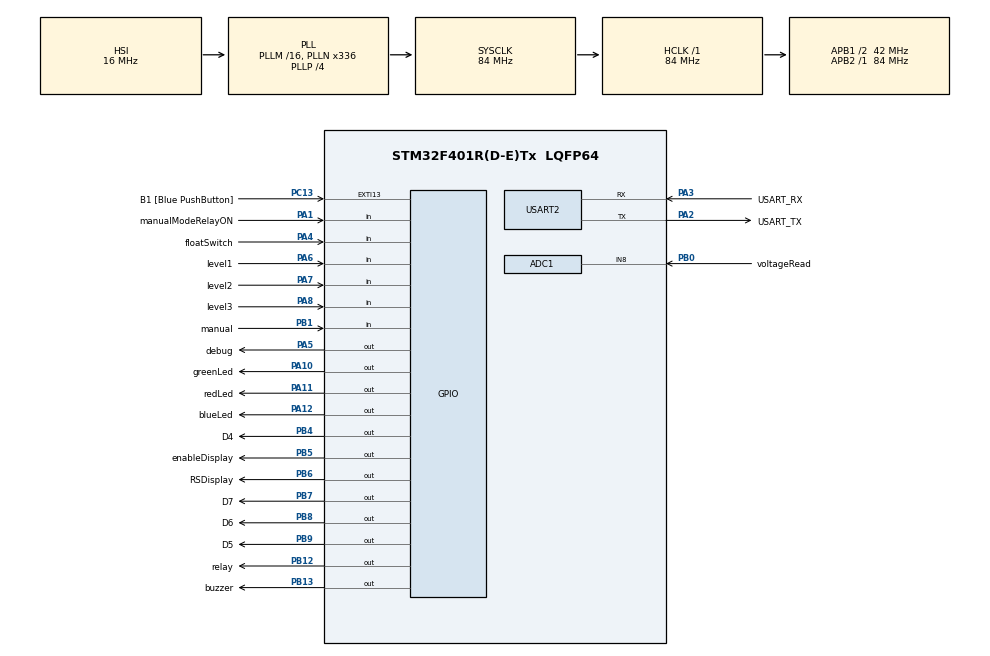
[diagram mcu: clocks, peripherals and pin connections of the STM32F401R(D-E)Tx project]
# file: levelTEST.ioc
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ADC1.Channel-0\#ChannelRegularConversion=ADC_CHANNEL_8
ADC1.ContinuousConvMode=ENABLE
ADC1.EOCSelection=ADC_EOC_SEQ_CONV
ADC1.NbrOfConversionFlag=1
ADC1.Rank-0\#ChannelRegularConversion=1
ADC1.SamplingTime-0\#ChannelRegularConversion=ADC_SAMPLETIME_3CYCLES
ADC1.master=1
Mcu.Family=STM32F4
Mcu.Name=STM32F401R(D-E)Tx
Mcu.Package=LQFP64
NVIC.PriorityGroup=NVIC_PRIORITYGROUP_0
NVIC.TIM2_IRQn=true\:0\:0\:false\:false\:true\:true\:true\:true
PA1.GPIO_Label=manualModeRelayON
PA1.GPIO_PuPd=GPIO_PULLDOWN
PA1.Signal=GPIO_Input
PA10.GPIO_Label=greenLed
PA10.Signal=GPIO_Output
PA11.GPIO_Label=redLed
PA11.Signal=GPIO_Output
PA12.GPIO_Label=blueLed
PA12.Signal=GPIO_Output
PA13.GPIO_Label=TMS
PA13.Mode=Serial_Wire
PA13.Signal=SYS_JTMS-SWDIO
PA14.GPIO_Label=TCK
PA14.Mode=Serial_Wire
PA14.Signal=SYS_JTCK-SWCLK
PA2.GPIO_Label=USART_TX
PA2.GPIO_Mode=GPIO_MODE_AF_PP
PA2.GPIO_PuPd=GPIO_NOPULL
PA2.GPIO_Speed=GPIO_SPEED_FREQ_LOW
PA2.Mode=Asynchronous
PA2.Signal=USART2_TX
PA3.GPIO_Label=USART_RX
PA3.GPIO_Mode=GPIO_MODE_AF_PP
PA3.GPIO_PuPd=GPIO_NOPULL
PA3.GPIO_Speed=GPIO_SPEED_FREQ_LOW
PA3.Mode=Asynchronous
PA3.Signal=USART2_RX
PA4.GPIO_Label=floatSwitch
PA4.GPIO_PuPd=GPIO_PULLUP
PA4.Signal=GPIO_Input
PA5.GPIO_Label=debug
PA5.GPIO_Mode=GPIO_MODE_OUTPUT_PP
PA5.GPIO_PuPd=GPIO_PULLDOWN
PA5.GPIO_Speed=GPIO_SPEED_FREQ_LOW
PA5.Signal=GPIO_Output
PA6.GPIO_Label=level1
PA6.GPIO_PuPd=GPIO_PULLDOWN
PA6.Signal=GPIO_Input
PA7.GPIO_Label=level2
PA7.GPIO_PuPd=GPIO_PULLDOWN
PA7.Signal=GPIO_Input
PA8.GPIO_Label=level3
PA8.GPIO_PuPd=GPIO_PULLDOWN
PA8.Signal=GPIO_Input
PB0.GPIO_Label=voltageRead
PB0.Signal=ADCx_IN8
PB1.GPIO_Label=manual
PB1.GPIO_PuPd=GPIO_PULLDOWN
PB1.Signal=GPIO_Input
PB12.GPIO_Label=relay
PB12.Signal=GPIO_Output
PB13.GPIO_Label=buzzer
PB13.Signal=GPIO_Output
PB3.GPIO_Label=SWO
PB3.Signal=SYS_JTDO-SWO
PB4.GPIO_Label=D4
PB4.Signal=GPIO_Output
PB5.GPIO_Label=enableDisplay
PB5.Signal=GPIO_Output
PB6.GPIO_Label=RSDisplay
PB6.Signal=GPIO_Output
PB7.GPIO_Label=D7
PB7.Signal=GPIO_Output
PB8.GPIO_Label=D6
PB8.Signal=GPIO_Output
PB9.GPIO_Label=D5
PB9.Signal=GPIO_Output
PC13-ANTI_TAMP.GPIO_Label=B1 [Blue PushButton]
PC13-ANTI_TAMP.GPIO_ModeDefaultEXTI=GPIO_MODE_IT_FALLING
PC13-ANTI_TAMP.GPIO_PuPd=GPIO_NOPULL
PC13-ANTI_TAMP.Signal=GPXTI13
PC14-OSC32_IN.Mode=LSE-External-Oscillator
PC14-OSC32_IN.Signal=RCC_OSC32_IN
PC15-OSC32_OUT.Mode=LSE-External-Oscillator
PC15-OSC32_OUT.Signal=RCC_OSC32_OUT
PH0\ -\ OSC_IN.Mode=HSE-External-Clock-Source
PH0\ -\ OSC_IN.Signal=RCC_OSC_IN
PH1\ -\ OSC_OUT.Mode=HSE-External-Clock-Source
PH1\ -\ OSC_OUT.Signal=RCC_OSC_OUT
ProjectManager.HeapSize=0x200
ProjectManager.StackSize=0x400
ProjectManager.TargetToolchain=STM32CubeIDE
RCC.48MHZClocksFreq_Value=48000000
RCC.AHBFreq_Value=84000000
RCC.APB1CLKDivider=RCC_HCLK_DIV2
RCC.APB1Freq_Value=42000000
RCC.APB1TimFreq_Value=84000000
RCC.APB2Freq_Value=84000000
RCC.APB2TimFreq_Value=84000000
RCC.CortexFreq_Value=84000000
RCC.HCLKFreq_Value=84000000
RCC.HSE_VALUE=8000000
RCC.HSI_VALUE=16000000
RCC.PLLN=336
RCC.PLLP=RCC_PLLP_DIV4
RCC.PLLQ=7
RCC.SYSCLKFreq_VALUE=84000000
RCC.SYSCLKSource=RCC_SYSCLKSOURCE_PLLCLK
RCC.VCOOutputFreq_Value=336000000
SH.ADCx_IN8.0=ADC1_IN8,IN8
TIM2.AutoReloadPreload=TIM_AUTORELOAD_PRELOAD_ENABLE
TIM2.Period=2000-1
TIM2.Prescaler=84-1
USART2.VirtualMode=VM_ASYNC
VP_TIM2_VS_ClockSourceINT.Mode=Internal
board=NUCLEO-F401RE

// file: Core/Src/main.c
/* USER CODE BEGIN Header */
/**
 ******************************************************************************
 * @file           : main.c
 * @brief          : Main program body
 ******************************************************************************
 * @attention
 *
 * Copyright (c) 2024 STMicroelectronics.
 * All rights reserved.
 *
 * This software is licensed under terms that can be found in the LICENSE file
 * in the root directory of this software component.
 * If no LICENSE file comes with this software, it is provided AS-IS.
 *
 ******************************************************************************
 */
/* USER CODE END Header */
#include "main.h"

/* USER CODE BEGIN Includes */
#include <string.h>
#include <stdio.h>
#include <stdlib.h>
#include <math.h>
#include <userinterface.h>
#include <voltagesensor.h>
#include <lcd.h>

/* USER CODE END Includes */

ADC_HandleTypeDef hadc1;

TIM_HandleTypeDef htim2;

UART_HandleTypeDef huart2;

/* USER CODE BEGIN PV */
static const float SC__offsetValue = 2015;

SFlags SystemFlags = { 0 };
SParameter VoltageParameters = { 0 };

char str[30] = "";
volatile int Adc_Val = 0;
/* USER CODE END PV */

void SystemClock_Config(void);
static void MX_GPIO_Init(void);
static void MX_USART2_UART_Init(void);
static void MX_ADC1_Init(void);
static void MX_TIM2_Init(void);

int main(void) {

	/* MCU Configuration--------------------------------------------------------*/

	/* Reset of all peripherals, Initializes the Flash interface and the Systick. */
	HAL_Init();

	/* Configure the system clock */
	SystemClock_Config();

	/* Initialize all configured peripherals */
	MX_GPIO_Init();
	MX_USART2_UART_Init();
	MX_ADC1_Init();
	MX_TIM2_Init();
	/* USER CODE BEGIN 2 */
	HAL_TIM_Base_Start(&htim2);
	Lcd_HandleTypeDef LCD_instance = LcdInitialize();
	HAL_ADC_Start_IT(&hadc1);

	/* USER CODE END 2 */

	/* Infinite loop */
	/* USER CODE BEGIN WHILE */
	while (1) {

		ReadVoltage();
		CheckOverVoltage();
		memset(str, 0, strlen(str));
		sprintf(str, "%d\n", Adc_Val);
		HAL_UART_Transmit(&huart2, (uint8_t*) str, strlen(str), 100);

		ReadModeSwitch();

		if (SystemFlags.modeFlag) {  // modeFlag=1 for manual mode

			//******************    Device in manual mode      *********************
			ManualMode(LCD_instance);
		}

		//************************* Device in auto mode  *******************************

		else {
			DisplayClearInAuto(&LCD_instance);
			// Check if Sump is empty
			SumpIsEmpty(LCD_instance);
			// Measure the water level
			ReadLevel();
//&&&&&&&&&&&&&&&&&&&&&&&&&& temp
			// Display the voltage
			LcdCursor(&LCD_instance, 0, 11);
			LcdInt(&LCD_instance, (int) VoltageParameters.voltage);  //&&&&&&&&&&&&&&&&&&&&

			CheckLevel(LCD_instance);

		}

		HAL_GPIO_WritePin(debug_GPIO_Port, debug_Pin, GPIO_PIN_SET);
		//HAL_Delay(100);
		/* USER CODE END WHILE */

	}
}

void SystemClock_Config(void) {
	RCC_OscInitTypeDef RCC_OscInitStruct = { 0 };
	RCC_ClkInitTypeDef RCC_ClkInitStruct = { 0 };

	/** Configure the main internal regulator output voltage
	 */
	__HAL_RCC_PWR_CLK_ENABLE();
	__HAL_PWR_VOLTAGESCALING_CONFIG(PWR_REGULATOR_VOLTAGE_SCALE2);

	/** Initializes the RCC Oscillators according to the specified parameters
	 * in the RCC_OscInitTypeDef structure.
	 */
	RCC_OscInitStruct.OscillatorType = RCC_OSCILLATORTYPE_HSI;
	RCC_OscInitStruct.HSIState = RCC_HSI_ON;
	RCC_OscInitStruct.HSICalibrationValue = RCC_HSICALIBRATION_DEFAULT;
	RCC_OscInitStruct.PLL.PLLState = RCC_PLL_ON;
	RCC_OscInitStruct.PLL.PLLSource = RCC_PLLSOURCE_HSI;
	RCC_OscInitStruct.PLL.PLLM = 16;
	RCC_OscInitStruct.PLL.PLLN = 336;
	RCC_OscInitStruct.PLL.PLLP = RCC_PLLP_DIV4;
	RCC_OscInitStruct.PLL.PLLQ = 7;
	if (HAL_RCC_OscConfig(&RCC_OscInitStruct) != HAL_OK) {
		Error_Handler();
	}

	/** Initializes the CPU, AHB and APB buses clocks
	 */
	RCC_ClkInitStruct.ClockType = RCC_CLOCKTYPE_HCLK | RCC_CLOCKTYPE_SYSCLK
			| RCC_CLOCKTYPE_PCLK1 | RCC_CLOCKTYPE_PCLK2;
	RCC_ClkInitStruct.SYSCLKSource = RCC_SYSCLKSOURCE_PLLCLK;
	RCC_ClkInitStruct.AHBCLKDivider = RCC_SYSCLK_DIV1;
	RCC_ClkInitStruct.APB1CLKDivider = RCC_HCLK_DIV2;
	RCC_ClkInitStruct.APB2CLKDivider = RCC_HCLK_DIV1;

	if (HAL_RCC_ClockConfig(&RCC_ClkInitStruct, FLASH_LATENCY_2) != HAL_OK) {
		Error_Handler();
	}
}

static void MX_ADC1_Init(void) {

	ADC_ChannelConfTypeDef sConfig = { 0 };

	/** Configure the global features of the ADC (Clock, Resolution, Data Alignment and number of conversion)
	 */
	hadc1.Instance = ADC1;
	hadc1.Init.ClockPrescaler = ADC_CLOCK_SYNC_PCLK_DIV4;
	hadc1.Init.Resolution = ADC_RESOLUTION_12B;
	hadc1.Init.ScanConvMode = DISABLE;
	hadc1.Init.ContinuousConvMode = ENABLE;
	hadc1.Init.DiscontinuousConvMode = DISABLE;
	hadc1.Init.ExternalTrigConvEdge = ADC_EXTERNALTRIGCONVEDGE_RISING;
	hadc1.Init.ExternalTrigConv = ADC_EXTERNALTRIGCONV_T2_TRGO;
	hadc1.Init.DataAlign = ADC_DATAALIGN_RIGHT;
	hadc1.Init.NbrOfConversion = 1;
	hadc1.Init.DMAContinuousRequests = DISABLE;
	hadc1.Init.EOCSelection = ADC_EOC_SEQ_CONV;
	if (HAL_ADC_Init(&hadc1) != HAL_OK) {
		Error_Handler();
	}

	/** Configure for the selected ADC regular channel its corresponding rank in the sequencer and its sample time.
	 */
	sConfig.Channel = ADC_CHANNEL_8;
	sConfig.Rank = 1;
	sConfig.SamplingTime = ADC_SAMPLETIME_3CYCLES;
	if (HAL_ADC_ConfigChannel(&hadc1, &sConfig) != HAL_OK) {
		Error_Handler();
	}

}

static void MX_TIM2_Init(void) {

	TIM_ClockConfigTypeDef sClockSourceConfig = { 0 };
	TIM_MasterConfigTypeDef sMasterConfig = { 0 };

	htim2.Instance = TIM2;
	htim2.Init.Prescaler = 84 - 1;
	htim2.Init.CounterMode = TIM_COUNTERMODE_UP;
	htim2.Init.Period = 1000 - 1;
	htim2.Init.ClockDivision = TIM_CLOCKDIVISION_DIV1;
	htim2.Init.AutoReloadPreload = TIM_AUTORELOAD_PRELOAD_ENABLE;
	if (HAL_TIM_Base_Init(&htim2) != HAL_OK) {
		Error_Handler();
	}
	sClockSourceConfig.ClockSource = TIM_CLOCKSOURCE_INTERNAL;
	if (HAL_TIM_ConfigClockSource(&htim2, &sClockSourceConfig) != HAL_OK) {
		Error_Handler();
	}
	sMasterConfig.MasterOutputTrigger = TIM_TRGO_UPDATE;
	sMasterConfig.MasterSlaveMode = TIM_MASTERSLAVEMODE_DISABLE;
	if (HAL_TIMEx_MasterConfigSynchronization(&htim2, &sMasterConfig)
			!= HAL_OK) {
		Error_Handler();
	}

}

static void MX_USART2_UART_Init(void) {

	huart2.Instance = USART2;
	huart2.Init.BaudRate = 115200;
	huart2.Init.WordLength = UART_WORDLENGTH_8B;
	huart2.Init.StopBits = UART_STOPBITS_1;
	huart2.Init.Parity = UART_PARITY_NONE;
	huart2.Init.Mode = UART_MODE_TX_RX;
	huart2.Init.HwFlowCtl = UART_HWCONTROL_NONE;
	huart2.Init.OverSampling = UART_OVERSAMPLING_16;
	if (HAL_UART_Init(&huart2) != HAL_OK) {
		Error_Handler();
	}

}

static void MX_GPIO_Init(void) {
	GPIO_InitTypeDef GPIO_InitStruct = { 0 };

	/* GPIO Ports Clock Enable */
	__HAL_RCC_GPIOC_CLK_ENABLE();
	__HAL_RCC_GPIOH_CLK_ENABLE();
	__HAL_RCC_GPIOA_CLK_ENABLE();
	__HAL_RCC_GPIOB_CLK_ENABLE();

	/*Configure GPIO pin Output Level */
	HAL_GPIO_WritePin(GPIOA,
	debug_Pin | greenLed_Pin | redLed_Pin | blueLed_Pin, GPIO_PIN_RESET);

	/*Configure GPIO pin Output Level */
	HAL_GPIO_WritePin(GPIOB,
			relay_Pin | buzzer_Pin | D4_Pin | enableDisplay_Pin | RSDisplay_Pin
					| D7_Pin | D6_Pin | D5_Pin, GPIO_PIN_RESET);

	/*Configure GPIO pin : B1_Pin */
	GPIO_InitStruct.Pin = B1_Pin;
	GPIO_InitStruct.Mode = GPIO_MODE_IT_FALLING;
	GPIO_InitStruct.Pull = GPIO_NOPULL;
	HAL_GPIO_Init(B1_GPIO_Port, &GPIO_InitStruct);

	/*Configure GPIO pins : manualModeRelayON_Pin level1_Pin level2_Pin level3_Pin */
	GPIO_InitStruct.Pin = manualModeRelayON_Pin | level1_Pin | level2_Pin
			| level3_Pin;
	GPIO_InitStruct.Mode = GPIO_MODE_INPUT;
	GPIO_InitStruct.Pull = GPIO_PULLDOWN;
	HAL_GPIO_Init(GPIOA, &GPIO_InitStruct);

	/*Configure GPIO pin : floatSwitch_Pin */
	GPIO_InitStruct.Pin = floatSwitch_Pin;
	GPIO_InitStruct.Mode = GPIO_MODE_INPUT;
	GPIO_InitStruct.Pull = GPIO_PULLUP;
	HAL_GPIO_Init(floatSwitch_GPIO_Port, &GPIO_InitStruct);

	/*Configure GPIO pin : debug_Pin */
	GPIO_InitStruct.Pin = debug_Pin;
	GPIO_InitStruct.Mode = GPIO_MODE_OUTPUT_PP;
	GPIO_InitStruct.Pull = GPIO_PULLDOWN;
	GPIO_InitStruct.Speed = GPIO_SPEED_FREQ_LOW;
	HAL_GPIO_Init(debug_GPIO_Port, &GPIO_InitStruct);

	/*Configure GPIO pin : manual_Pin */
	GPIO_InitStruct.Pin = manual_Pin;
	GPIO_InitStruct.Mode = GPIO_MODE_INPUT;
	GPIO_InitStruct.Pull = GPIO_PULLDOWN;
	HAL_GPIO_Init(manual_GPIO_Port, &GPIO_InitStruct);

	/*Configure GPIO pins : relay_Pin buzzer_Pin D4_Pin enableDisplay_Pin
	 RSDisplay_Pin D7_Pin D6_Pin D5_Pin */
	GPIO_InitStruct.Pin = relay_Pin | buzzer_Pin | D4_Pin | enableDisplay_Pin
			| RSDisplay_Pin | D7_Pin | D6_Pin | D5_Pin;
	GPIO_InitStruct.Mode = GPIO_MODE_OUTPUT_PP;
	GPIO_InitStruct.Pull = GPIO_NOPULL;
	GPIO_InitStruct.Speed = GPIO_SPEED_FREQ_LOW;
	HAL_GPIO_Init(GPIOB, &GPIO_InitStruct);

	/*Configure GPIO pins : greenLed_Pin redLed_Pin blueLed_Pin */
	GPIO_InitStruct.Pin = greenLed_Pin | redLed_Pin | blueLed_Pin;
	GPIO_InitStruct.Mode = GPIO_MODE_OUTPUT_PP;
	GPIO_InitStruct.Pull = GPIO_NOPULL;
	GPIO_InitStruct.Speed = GPIO_SPEED_FREQ_LOW;
	HAL_GPIO_Init(GPIOA, &GPIO_InitStruct);

}

/* USER CODE BEGIN 4 */

void HAL_ADC_ConvCpltCallback(ADC_HandleTypeDef *hadc) {
	HAL_GPIO_TogglePin(redLed_GPIO_Port, redLed_Pin);
	Adc_Val = HAL_ADC_GetValue(&hadc1); // - SC__offsetValue;
	/*VoltageParameters.sum += pow(ADC_Val, 2);
	 VoltageParameters.samplesTaken++;*/
}

/* USER CODE END 4 */

void Error_Handler(void) {
	__disable_irq();
	while (1) {
	}
}
